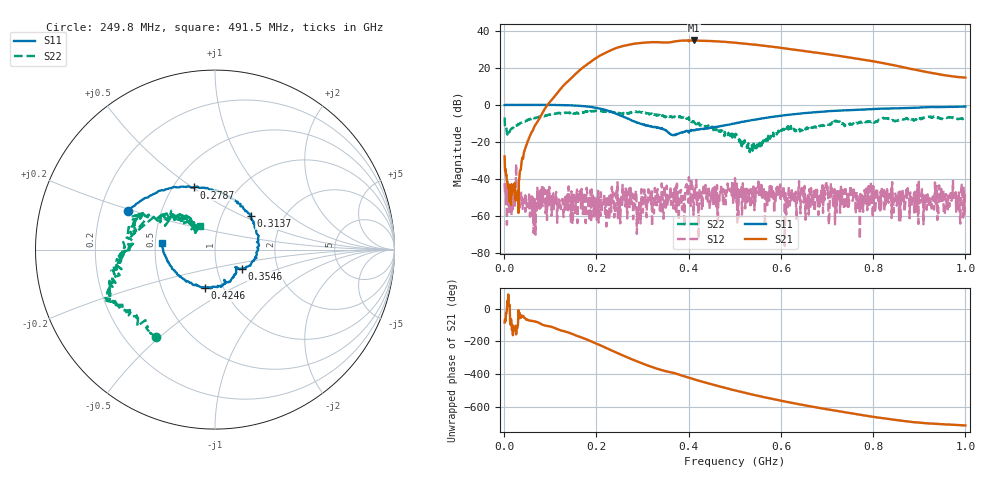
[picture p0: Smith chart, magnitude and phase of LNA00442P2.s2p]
! Created with skrf 1.9.0 (http://scikit-rf.org).
# Hz S RI R 50.0
!freq ReS11 ImS11 ReS21 ImS21 ReS12 ImS12 ReS22 ImS22
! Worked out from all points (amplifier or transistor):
!   1001 points, 1 MHz to 1 GHz, reference 50 ohm
!   highest |S21| = 34.9 dB at 410.6 MHz (marker M1)
!   |S21| within 3 dB of that: 258.6 MHz to 568.6 MHz (310 MHz wide, 75 % of centre)
!   unconditionally stable (mu >= 1): 8.559 MHz to 57.5 MHz; 246 MHz to 400.5 MHz; 400.7 MHz to end of sweep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
!   at 166.8 MHz: K = 2.15, MAG = 31.7 dB, |S12| = -56.1 dB
!   at 500.5 MHz: K = 1.16, MAG = 34.2 dB, |S12| = -39.6 dB
!   at 1 GHz: K = 3.40, MAG = 23.0 dB, |S12| = -47.6 dB
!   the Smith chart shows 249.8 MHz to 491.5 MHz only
!   S11 on the Smith chart (normalised r, x): 249.8 MHz: 0.32, +0.19; 278.7 MHz: 0.63, +0.50; 313.7 MHz: 1.36, +0.55; 354.6 MHz: 1.31, -0.29; 424.6 MHz: 0.82, -0.37; 491.5 MHz: 0.54, +0.04
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1000000  0.9873 0.00967  0.00387 -0.04  0.00231 0.0072  0.3525 0.29
1.08892e8  0.5289 -0.8442  -0.7737 -1.482  -0.002 0.000565  0.4221 -0.3808
1.67833e8  -0.2163 -0.9065  -9.6 -0.6462  -0.00422 -0.00323  0.0196 -0.6273
2.12788e8  -0.6836 -0.3554  -15.09 17.74  -0.00135 0.00205  -0.2236 -0.6232
2.29771e8  -0.6626 -0.0648  -9.385 28.03  -0.00271 -0.000727  -0.2891 -0.595
2.49751e8  -0.4859 0.2177  4.59 36.55  0.000296 0.00111  -0.3289 -0.4858
2.78722e8  -0.1197 0.3463  29.74 33.07  0.000914 -0.00372  -0.5667 -0.2957
3.13687e8  0.198 0.1872  48.62 8.026  -0.00109 0.00365  -0.5652 -0.1545
3.34666e8  0.2409 0.00433  48.88 -9.254  -0.000855 0.00186  -0.5241 -0.0454
3.54646e8  0.1486 -0.1055  43.91 -21.04  0.00264 0.000973  -0.4928 0.0664
3.77623e8  0.1177 -0.1163  39.85 -36.07  0.00193 0.00156  -0.442 0.1911
4.1059e8  0.0163 -0.2012  17.34 -52.76  -0.000898 0.000549  -0.3189 0.1766
4.24576e8  -0.0567 -0.2136  6.539 -54.37  -0.000477 0.00467  -0.2171 0.1919
4.55545e8  -0.2065 -0.1409  -16.15 -50.37  0.00451 0.00325  -0.172 0.1803
4.91509e8  -0.2972 0.0349  -34.24 -35.48  0.00441 0.000322  -0.0856 0.1338
5.005e8  -0.2993 0.0915  -37.42 -30.82  0.00645 -0.00829  -0.107 0.0778
5.4046e8  -0.2499 0.3035  -41.92 -9.496  0.00596 -0.0016  -0.088 0.0153
5.88412e8  -0.0622 0.4819  -35.02 10.81  0.000591 -0.00227  -0.1477 -0.0775
6.67333e8  0.3181 0.5377  -13.37 23.22  0.00163 -0.00272  -0.2311 -0.0526
7.55245e8  0.6296 0.3653  3.811 18.22  -0.000592 0.00245  -0.3069 0.0339
8.34166e8  0.7835 0.1394  9.044 8.759  0.000575 -0.00389  -0.4118 0.0542
1e9  0.8086 -0.3969  5.469 0.4736  -0.00416 -0.000227  -0.2123 0.3745
